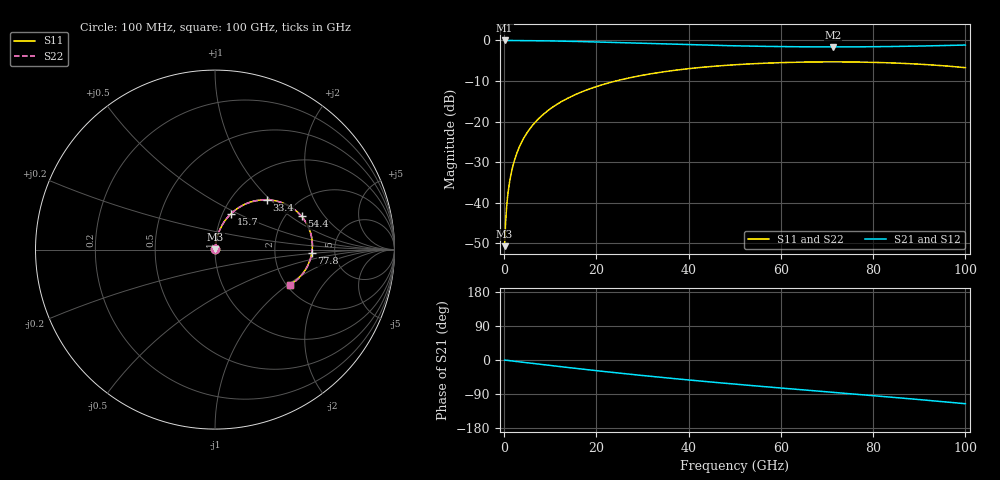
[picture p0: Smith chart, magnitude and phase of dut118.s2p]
! Touchstone file exported from HFSS 2026.1.0
!  File:  C:/ffzhzh/LocalFiles/Ansys_Project_Files/temp_train_RDL_118_1783499404_31944.aedt
!  Generated:  04:31:10 PM Jul  8, 2026
!  Design:  RDL
!  Project:  temp_train_RDL_118_1783499404_31944
! Variables:
!  h_bsmrdl = 2um
!  h_ox = 20um
!  h_rdl = 5um
!  h_sub = 80um
!  h_tmrdl = 2.21um
!  h_tsv = 80um
!  h_via = 3um
!  l_bsmrdl = 300um
!  l_sub = 769.67um
!  l_tmrdl = 369.67um
!  m_sub = 200um
!  pitch = 58.14um
!  r_tsv = 6um
!  s_tmrdl = 10um
!  w_bsmrdl = 18um
!  w_sub = 500um
!  w_tmrdl = 29.29um
!  x_tsv_center1 = 384.315um
!  x_tsv_center2 = 702.315um
!  x_tsv_center3 = 1101.275um
!  x_tsv_center4 = 1419.275um
!  x_tsv_center5 = 1818.235um
!  x_tsv_center6 = 2136.235um
# GHz S MA R 50.000000
! Terminal data exported
! Port[1] = TM_RDL1_1_T1
! Port[2] = TM_RDL1_1_T2
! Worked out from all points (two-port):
!   1000 points, 100 MHz to 100 GHz, reference 50 ohm
!   highest |S21| = -0.02 dB at 100 MHz (marker M1); lowest = -1.6 dB at 71.3 GHz (marker M2)
!   |S21| within 3 dB of the highest: start of sweep to end of sweep
!   lowest |S11| = -50.7 dB at 100 MHz (marker M3), VSWR 1.01, Z = 50.2 + j0.165 ohm
!   |S11| at or under -10 dB: start of sweep to 24.26 GHz
!   |S22| runs from -50.7 to -5.3 dB; largest |S21 - S12| = 1.5e-14
!   S11 on the Smith chart (normalised r, x): 100 MHz: 1.00, +0.00; 15.7 GHz: 1.09, +0.46; 33.4 GHz: 1.44, +0.95; 54.4 GHz: 2.42, +1.23; 77.8 GHz: 3.33, -0.19; 100 GHz: 2.08, -1.04
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0.1  0.002915 34.3  0.9976 -0.2  0.9976 -0.2  0.002915 34.3
! Gamma 0 0 0 0
! Port Impedance 50 0 50 0
0.3  0.005492 61.2  0.9974 -0.5  0.9974 -0.5  0.005492 61.2
0.9  0.01402 75.9  0.9968 -1.3  0.9968 -1.3  0.01402 75.9
1.2  0.0183 78.1  0.9966 -1.8  0.9966 -1.8  0.0183 78.1
1.5  0.02261 79.5  0.9965 -2.2  0.9965 -2.2  0.02261 79.4
2  0.02984 80.6  0.9962 -2.9  0.9962 -2.9  0.02984 80.6
2.5  0.03708 81.0  0.9959 -3.7  0.9959 -3.7  0.03708 81.0
3.9  0.05735 80.7  0.9947 -5.7  0.9947 -5.7  0.05735 80.7
5.9  0.08608 78.8  0.9923 -8.6  0.9923 -8.6  0.08608 78.8
8.5  0.1228 75.6  0.988 -12.3  0.988 -12.3  0.1228 75.6
11.7  0.1664 71.4  0.9809 -16.8  0.9809 -16.8  0.1664 71.4
15.7  0.2181 66.1  0.9698 -22.4  0.9698 -22.4  0.2181 66.0
16.8  0.2317 64.6  0.9665 -23.9  0.9665 -23.9  0.2317 64.6
24.2  0.3157 55.1  0.9414 -33.6  0.9414 -33.6  0.3157 55.0
33.4  0.4006 43.9  0.908 -45.0  0.908 -45.0  0.4006 43.8
50.1  0.5012 25.5  0.8567 -63.7  0.8567 -63.7  0.5012 25.3
54.4  0.5169 21.1  0.8474 -68.2  0.8474 -68.2  0.517 20.9
66.7  0.5416 8.8  0.832 -80.7  0.832 -80.7  0.5417 8.5
71.3  0.5434 4.3  0.8308 -85.3  0.8308 -85.3  0.5435 4.0
77.8  0.5392 -2.1  0.8332 -91.9  0.8332 -91.9  0.5393 -2.4
83.4  0.5291 -7.7  0.8393 -97.5  0.8393 -97.5  0.5292 -8.1
100  0.4608 -25.1  0.8763 -115.4  0.8763 -115.4  0.461 -25.6
